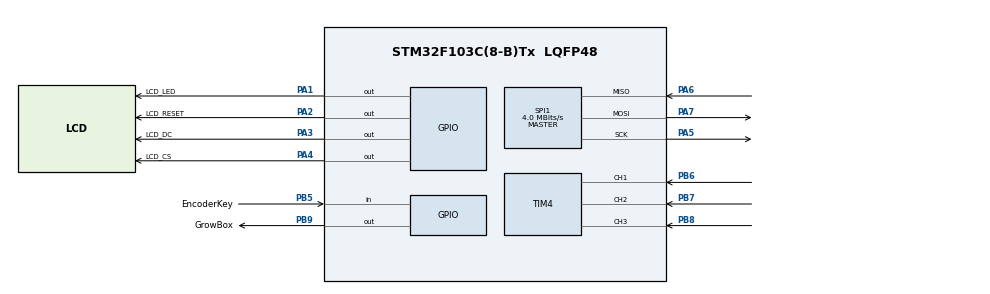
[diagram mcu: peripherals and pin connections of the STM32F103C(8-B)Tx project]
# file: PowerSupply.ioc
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Mcu.Family=STM32F1
Mcu.Name=STM32F103C(8-B)Tx
Mcu.Package=LQFP48
NVIC.PriorityGroup=NVIC_PRIORITYGROUP_4
PA1.GPIO_Label=LCD_LED
PA1.GPIO_ModeDefaultOutputPP=GPIO_MODE_OUTPUT_PP
PA1.GPIO_Speed=GPIO_SPEED_FREQ_LOW
PA1.PinState=GPIO_PIN_RESET
PA1.Signal=GPIO_Output
PA13.Mode=Serial_Wire
PA13.Signal=SYS_JTMS-SWDIO
PA14.Mode=Serial_Wire
PA14.Signal=SYS_JTCK-SWCLK
PA2.GPIO_Label=LCD_RESET
PA2.GPIO_ModeDefaultOutputPP=GPIO_MODE_OUTPUT_PP
PA2.GPIO_Speed=GPIO_SPEED_FREQ_LOW
PA2.PinState=GPIO_PIN_RESET
PA2.Signal=GPIO_Output
PA3.GPIO_Label=LCD_DC
PA3.GPIO_ModeDefaultOutputPP=GPIO_MODE_OUTPUT_PP
PA3.GPIO_Speed=GPIO_SPEED_FREQ_LOW
PA3.PinState=GPIO_PIN_RESET
PA3.Signal=GPIO_Output
PA4.GPIO_Label=LCD_CS
PA4.GPIO_ModeDefaultOutputPP=GPIO_MODE_OUTPUT_PP
PA4.GPIO_Speed=GPIO_SPEED_FREQ_LOW
PA4.PinState=GPIO_PIN_RESET
PA4.Signal=GPIO_Output
PA5.Mode=Full_Duplex_Master
PA5.Signal=SPI1_SCK
PA6.GPIO_Mode=GPIO_MODE_INPUT
PA6.GPIO_PuPd=GPIO_NOPULL
PA6.Mode=Full_Duplex_Master
PA6.Signal=SPI1_MISO
PA7.Mode=Full_Duplex_Master
PA7.Signal=SPI1_MOSI
PB5.GPIO_Label=EncoderKey
PB5.Signal=GPIO_Input
PB6.Signal=S_TIM4_CH1
PB7.Signal=S_TIM4_CH2
PB8.Signal=S_TIM4_CH3
PB9.GPIO_Label=GrowBox
PB9.GPIO_ModeDefaultOutputPP=GPIO_MODE_OUTPUT_PP
PB9.GPIO_Speed=GPIO_SPEED_FREQ_LOW
PB9.PinState=GPIO_PIN_RESET
PB9.Signal=GPIO_Output
ProjectManager.HeapSize=0x200
ProjectManager.StackSize=0x400
ProjectManager.TargetToolchain=EWARM
RCC.APB1Freq_Value=8000000
RCC.APB2Freq_Value=8000000
SH.S_TIM4_CH1.0=TIM4_CH1,Encoder_Interface
SH.S_TIM4_CH2.0=TIM4_CH2,Encoder_Interface
SH.S_TIM4_CH3.0=TIM4_CH3,Input_Capture3_from_TI3
SH.S_TIM4_CH3.1=TIM4_CH3,Input_Capture4_from_TI3
SPI1.CalculateBaudRate=4.0 MBits/s
SPI1.Direction=SPI_DIRECTION_2LINES
SPI1.Mode=SPI_MODE_MASTER
SPI1.VirtualType=VM_MASTER
TIM1.ClockDivision=TIM_CLOCKDIVISION_DIV2
TIM1.Period=65535
TIM1.Prescaler=10000
TIM4.Channel-Input_Capture3_from_TI3=TIM_CHANNEL_3
TIM4.Channel-Input_Capture4_from_TI3=TIM_CHANNEL_4
VP_RTC_VS_RTC_Activate.Mode=RTC_Enabled
VP_TIM1_VS_ClockSourceINT.Mode=Internal
board=PowerSupply

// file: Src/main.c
/**
  ******************************************************************************
  * @file           : main.c
  * @brief          : Main program body
  ******************************************************************************
  ** This notice applies to any and all portions of this file
  * that are not between comment pairs USER CODE BEGIN and
  * USER CODE END. Other portions of this file, whether
  * inserted by the user or by software development tools
  * are owned by their respective copyright owners.
  *
  * COPYRIGHT(c) 2018 STMicroelectronics
  *
  * Redistribution and use in source and binary forms, with or without modification,
  * are permitted provided that the following conditions are met:
  *   1. Redistributions of source code must retain the above copyright notice,
  *      this list of conditions and the following disclaimer.
  *   2. Redistributions in binary form must reproduce the above copyright notice,
  *      this list of conditions and the following disclaimer in the documentation
  *      and/or other materials provided with the distribution.
  *   3. Neither the name of STMicroelectronics nor the names of its contributors
  *      may be used to endorse or promote products derived from this software
  *      without specific prior written permission.
  *
  * THIS SOFTWARE IS PROVIDED BY THE COPYRIGHT HOLDERS AND CONTRIBUTORS "AS IS"
  * AND ANY EXPRESS OR IMPLIED WARRANTIES, INCLUDING, BUT NOT LIMITED TO, THE
  * IMPLIED WARRANTIES OF MERCHANTABILITY AND FITNESS FOR A PARTICULAR PURPOSE ARE
  * DISCLAIMED. IN NO EVENT SHALL THE COPYRIGHT HOLDER OR CONTRIBUTORS BE LIABLE
  * FOR ANY DIRECT, INDIRECT, INCIDENTAL, SPECIAL, EXEMPLARY, OR CONSEQUENTIAL
  * DAMAGES (INCLUDING, BUT NOT LIMITED TO, PROCUREMENT OF SUBSTITUTE GOODS OR
  * SERVICES; LOSS OF USE, DATA, OR PROFITS; OR BUSINESS INTERRUPTION) HOWEVER
  * CAUSED AND ON ANY THEORY OF LIABILITY, WHETHER IN CONTRACT, STRICT LIABILITY,
  * OR TORT (INCLUDING NEGLIGENCE OR OTHERWISE) ARISING IN ANY WAY OUT OF THE USE
  * OF THIS SOFTWARE, EVEN IF ADVISED OF THE POSSIBILITY OF SUCH DAMAGE.
  *
  ******************************************************************************
  */
#include "main.h"
#include "stm32f1xx_hal.h"
#include "rtc.h"
#include "spi.h"
#include "tim.h"
#include "gpio.h"

/* USER CODE BEGIN Includes */

#include "stm32f1xx_hal.h"
#include "ILI9341_STM32_Driver.h"
#include "ILI9341_GFX.h"
#include "GrowControl.h"
#include "GUI.h"
#include "PowerSupply.h"

/* USER CODE END Includes */

/* USER CODE BEGIN PV */
/* Private variables ---------------------------------------------------------*/

//struct pSupply;
char buffer[30];

/* USER CODE END PV */

void SystemClock_Config(void);

/* USER CODE BEGIN PFP */
/* Private function prototypes -----------------------------------------------*/

/* USER CODE END PFP */

/* USER CODE BEGIN 0 */

uint16_t EncGetValue()
{
    return (uint16_t) (TIM4->CNT / 2);
}

/* USER CODE END 0 */

int main(void)
{

  /* MCU Configuration----------------------------------------------------------*/

  /* Reset of all peripherals, Initializes the Flash interface and the Systick. */
  HAL_Init();

  /* Configure the system clock */
  SystemClock_Config();

  /* Initialize all configured peripherals */
  MX_GPIO_Init();
  MX_TIM1_Init();
  MX_SPI1_Init();
  MX_RTC_Init();
  MX_TIM4_Init();
  /* USER CODE BEGIN 2 */
  ILI9341_Init();
  ILI9341_Set_Rotation(SCREEN_HORIZONTAL_2);
  ILI9341_Fill_Screen(DARKCYAN);
  HAL_TIM_Base_Start(&htim1);
  PowerSupplyInit(pSupply);
  buildGUIHello();
  buildGUISimple();

  /* USER CODE END 2 */

  /* Infinite loop */
  while (1)
  {

  /* USER CODE BEGIN 3 */
    if(sTime.Minutes == 14)
      pSupply->voltage = 10.12;

    printMessageTime();
    Growing(growState, sTime.Minutes);
    buildGUISimple();
    sprintf(buffer, "%d", EncGetValue());
    ILI9341_Draw_Text(buffer, 90, 120, WHITE, 2, DARKCYAN);
  }
  /* USER CODE END 3 */

}

void SystemClock_Config(void)
{

  RCC_OscInitTypeDef RCC_OscInitStruct;
  RCC_ClkInitTypeDef RCC_ClkInitStruct;
  RCC_PeriphCLKInitTypeDef PeriphClkInit;

    /**Initializes the CPU, AHB and APB busses clocks
    */
  RCC_OscInitStruct.OscillatorType = RCC_OSCILLATORTYPE_HSI|RCC_OSCILLATORTYPE_LSI;
  RCC_OscInitStruct.HSIState = RCC_HSI_ON;
  RCC_OscInitStruct.HSICalibrationValue = 16;
  RCC_OscInitStruct.LSIState = RCC_LSI_ON;
  RCC_OscInitStruct.PLL.PLLState = RCC_PLL_NONE;
  if (HAL_RCC_OscConfig(&RCC_OscInitStruct) != HAL_OK)
  {
    _Error_Handler(__FILE__, __LINE__);
  }

    /**Initializes the CPU, AHB and APB busses clocks
    */
  RCC_ClkInitStruct.ClockType = RCC_CLOCKTYPE_HCLK|RCC_CLOCKTYPE_SYSCLK
                              |RCC_CLOCKTYPE_PCLK1|RCC_CLOCKTYPE_PCLK2;
  RCC_ClkInitStruct.SYSCLKSource = RCC_SYSCLKSOURCE_HSI;
  RCC_ClkInitStruct.AHBCLKDivider = RCC_SYSCLK_DIV1;
  RCC_ClkInitStruct.APB1CLKDivider = RCC_HCLK_DIV1;
  RCC_ClkInitStruct.APB2CLKDivider = RCC_HCLK_DIV1;

  if (HAL_RCC_ClockConfig(&RCC_ClkInitStruct, FLASH_LATENCY_0) != HAL_OK)
  {
    _Error_Handler(__FILE__, __LINE__);
  }

  PeriphClkInit.PeriphClockSelection = RCC_PERIPHCLK_RTC;
  PeriphClkInit.RTCClockSelection = RCC_RTCCLKSOURCE_LSI;
  if (HAL_RCCEx_PeriphCLKConfig(&PeriphClkInit) != HAL_OK)
  {
    _Error_Handler(__FILE__, __LINE__);
  }

    /**Configure the Systick interrupt time
    */
  HAL_SYSTICK_Config(HAL_RCC_GetHCLKFreq()/1000);

    /**Configure the Systick
    */
  HAL_SYSTICK_CLKSourceConfig(SYSTICK_CLKSOURCE_HCLK);

  /* SysTick_IRQn interrupt configuration */
  HAL_NVIC_SetPriority(SysTick_IRQn, 0, 0);
}

void _Error_Handler(char *file, int line)
{
  /* USER CODE BEGIN Error_Handler_Debug */
  /* User can add his own implementation to report the HAL error return state */
  while(1)
  {
     ILI9341_Fill_Screen(RED);
     ILI9341_Set_Rotation(SCREEN_HORIZONTAL_2);
     ILI9341_Draw_Text("ERROR", 10, 90, RED, 4, BLACK);
     HAL_Delay(1000);
  }
  /* USER CODE END Error_Handler_Debug */
}

/************************ (C) COPYRIGHT STMicroelectronics *****END OF FILE****/
